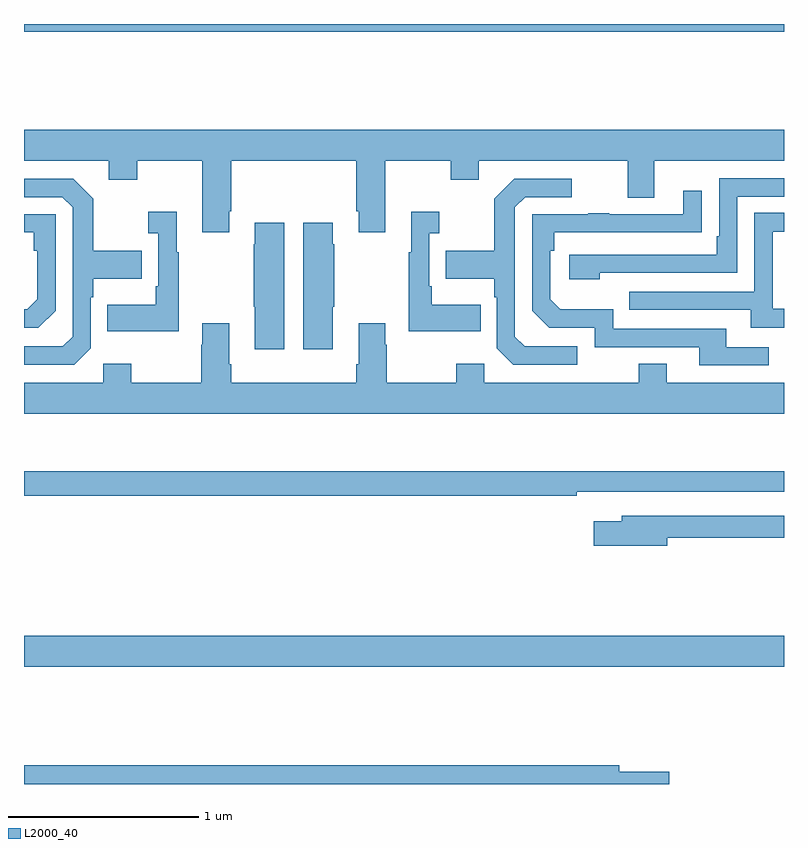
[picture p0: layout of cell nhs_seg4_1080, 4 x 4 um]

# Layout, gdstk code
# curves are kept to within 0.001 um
import gdstk
lib = gdstk.Library(unit=1e-6, precision=1e-09)
def R(c, l, rs):  # rectangles x0, y0, x1, y1
    for r in rs: c.add(gdstk.rectangle(r[:2], r[2:], *l))
def P(c, l, *ps):  # polygons
    for p in ps: c.add(gdstk.Polygon(p, *l))
L2000_40 = (2000, 40)

nhs_seg4_1080 = lib.new_cell('nhs_seg4_1080')
R(nhs_seg4_1080, L2000_40, [(167,767.516,171,767.68), (167,770.86,171,770.9)])
P(nhs_seg4_1080, L2000_40, [(168.079,769.915),(168.092,769.915),(168.092,770.18),(168.749,770.18),(168.749,769.915),(168.761,769.915),(168.761,769.803),(168.901,769.803),(168.901,770.18),(169.246,770.18),(169.246,770.081),(169.393,770.081),(169.393,770.18),(170.177,770.18),(170.177,769.986),(170.317,769.986),(170.317,770.18),(171,770.18),(171,770.344),(167,770.344),(167,770.18),(167.447,770.18),(167.447,770.081),(167.595,770.081),(167.595,770.18),(167.939,770.18),(167.939,769.803),(168.079,769.803)],
  [(170.03,769.59),(170.754,769.59),(170.754,769.992),(171,769.992),(171,770.088),(170.658,770.088),(170.658,769.783),(170.645,769.783),(170.645,769.686),(169.869,769.686),(169.869,769.556),(170.03,769.556)],
  [(167.352,769.194),(167.352,769.463),(167.365,769.463),(167.365,769.559),(167.621,769.559),(167.621,769.707),(167.365,769.707),(167.365,769.979),(167.259,770.085),(167,770.085),(167,769.989),(167.202,769.989),(167.256,769.935),(167.256,769.254),(167.205,769.203),(167,769.203),(167,769.107),(167.265,769.107)],
  [(169.912,769.203),(169.635,769.203),(169.584,769.254),(169.584,769.935),(169.638,769.989),(169.882,769.989),(169.882,770.085),(169.581,770.085),(169.476,769.979),(169.476,769.707),(169.219,769.707),(169.219,769.559),(169.476,769.559),(169.476,769.463),(169.488,769.463),(169.488,769.194),(169.575,769.107),(169.912,769.107)],
  [(170.92,769.2),(170.695,769.2),(170.695,769.296),(170.1,769.296),(170.1,769.399),(169.823,769.399),(169.77,769.452),(169.77,769.706),(169.79,769.706),(169.79,769.803),(170.567,769.804),(170.567,770.023),(170.471,770.023),(170.471,769.899),(170.081,769.899),(170.081,769.904),(169.969,769.904),(169.969,769.899),(169.674,769.899),(169.674,769.392),(169.764,769.302),(170.004,769.302),(170.004,769.2),(170.555,769.2),(170.555,769.104),(170.92,769.104)],
  [(167.815,769.699),(167.803,769.699),(167.803,769.912),(167.655,769.912),(167.655,769.799),(167.706,769.799),(167.706,769.519),(167.694,769.519),(167.694,769.423),(167.437,769.423),(167.437,769.283),(167.815,769.283)],
  [(169.403,769.423),(169.147,769.423),(169.147,769.519),(169.134,769.519),(169.134,769.799),(169.186,769.799),(169.186,769.912),(169.037,769.912),(169.037,769.699),(169.026,769.699),(169.026,769.283),(169.403,769.283)],
  [(171,769.401),(170.94,769.401),(170.94,769.806),(171,769.806),(171,769.907),(170.844,769.907),(170.844,769.491),(170.185,769.491),(170.185,769.395),(170.825,769.395),(170.825,769.301),(171,769.301)],
  [(167.166,769.392),(167.166,769.899),(167,769.899),(167,769.803),(167.05,769.803),(167.05,769.706),(167.07,769.706),(167.07,769.452),(167.017,769.399),(167,769.399),(167,769.302),(167.076,769.302)],
  [(168.625,769.411),(168.633,769.411),(168.633,769.742),(168.625,769.742),(168.625,769.855),(168.47,769.855),(168.47,769.188),(168.625,769.188)],
  [(168.37,769.855),(168.215,769.855),(168.215,769.742),(168.208,769.742),(168.208,769.411),(168.215,769.411),(168.215,769.188),(168.37,769.188)],
  [(171,769.012),(170.383,769.012),(170.383,769.111),(170.236,769.111),(170.236,769.012),(169.422,769.012),(169.422,769.111),(169.276,769.111),(169.276,769.012),(168.909,769.012),(168.909,769.211),(168.901,769.211),(168.901,769.324),(168.761,769.324),(168.761,769.108),(168.749,769.108),(168.749,769.012),(168.092,769.012),(168.092,769.108),(168.079,769.108),(168.079,769.324),(167.939,769.324),(167.939,769.211),(167.932,769.211),(167.932,769.012),(167.565,769.012),(167.565,769.111),(167.418,769.111),(167.418,769.012),(167,769.012),(167,768.848),(171,768.848)],
  [(169.91,768.438),(171,768.438),(171,768.547),(167,768.547),(167,768.418),(169.91,768.418)],
  [(170.386,768.196),(171,768.196),(171,768.312),(170.147,768.312),(170.147,768.283),(169.998,768.283),(169.998,768.154),(170.386,768.154)],
  [(170.395,766.964),(170.134,766.964),(170.134,767),(167,767),(167,766.9),(170.395,766.9)])

lib.write_gds('nhs_seg4_1080.gds')
